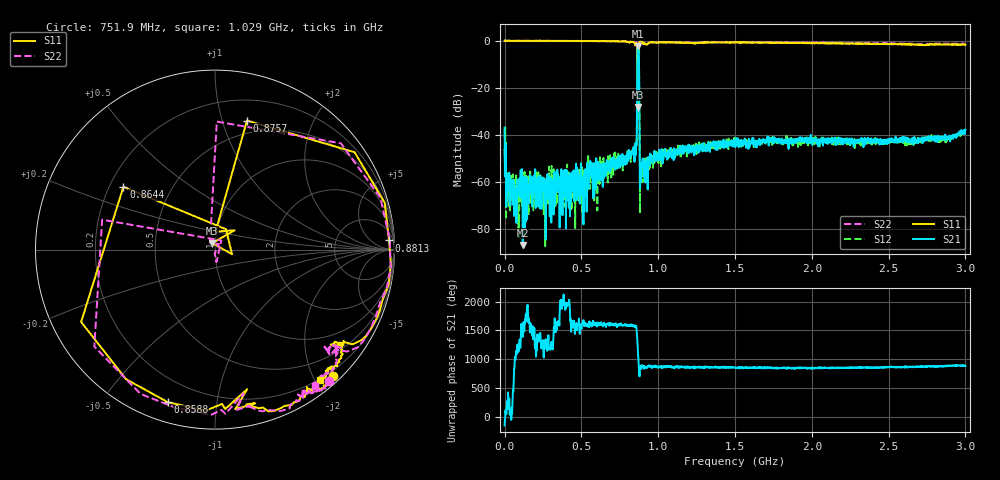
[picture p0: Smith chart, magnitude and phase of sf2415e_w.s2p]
!Agilent Technologies,E5071C,MY46104097,A.08.12
!Date: Wed Aug 16 11:23:37 2017
!Data & Calibration Information:
!Freq	S11:SOLT2(ON)	S21:SOLT2(ON)	S12:SOLT2(ON)	S22:SOLT2(ON)
# Hz S RI R 50
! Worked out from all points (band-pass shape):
!   1601 points, 100 kHz to 3 GHz, reference 50 ohm
!   highest |S21| = -2.33 dB at 870.1 MHz (marker M1); lowest = -86.6 dB at 118.2 MHz (marker M2)
!   |S21| within 3 dB of the highest: 865.7 MHz to 874.1 MHz (8.394 MHz wide, 0.965 % of centre)
!   lowest |S11| = -28.1 dB at 870.1 MHz (marker M3), VSWR 1.08, Z = 48.4 + j3.53 ohm
!   |S11| at or under -10 dB: 865.2 MHz to 874.9 MHz (9.65 MHz wide, 1.11 % of centre)
!   |S22| runs from -32.9 to 0.2 dB; largest |S21 - S12| = 0.018
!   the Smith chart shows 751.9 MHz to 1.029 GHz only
!   S11 on the Smith chart (normalised r, x): 751.9 MHz: 0.10, -2.30; 858.8 MHz: 0.09, -0.73; 864.4 MHz: 0.26, +0.29; 875.7 MHz: 0.38, +1.21; 881.3 MHz: 16, +29; 1.029 GHz: 0.19, -2.08
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100000  1.005 0.00958  -0.0125 -0.00692  0.000521 0.00513  0.9796 0.00275
2.447419e7  1.005 -0.0265  0.000377 -0.000565  -0.000216 0.000488  1 -0.0261
1.182211e8  0.9934 -0.1176  2.98e-05 -3.62e-05  0.000198 -0.000819  0.9912 -0.1219
2.269674e8  0.9764 -0.229  0.00104 -0.000567  -0.000732 -0.000295  0.9681 -0.2258
2.588414e8  0.9638 -0.2464  -0.000315 -0.000654  -0.0012 7.39e-05  0.9614 -0.2671
3.038399e8  0.95 -0.2936  -0.000105 -9.24e-05  -0.00017 -0.000192  0.9507 -0.308
5.007083e8  0.8686 -0.4805  7.24e-05 0.000777  -0.0017 0.00101  0.8554 -0.4972
5.513316e8  0.8434 -0.5203  -0.000622 0.0013  -0.000988 0.00204  0.82 -0.5528
7.519499e8  0.6601 -0.707  -0.00252 0.00136  -0.0018 0.001  0.6362 -0.7294
8.438219e8  0.2433 -0.8841  -0.00394 0.00269  -0.0035 0.0031  0.2421 -0.8967
8.588214e8  -0.263 -0.8501  -0.00128 0.00585  -0.00167 0.00602  -0.2215 -0.8807
8.644462e8  -0.5103 0.3498  -0.1412 -0.2845  -0.1355 -0.2842  -0.6288 0.1666
8.70071e8  -0.0151 0.0364  0.657 -0.3921  0.6581 -0.3889  -0.00168 -0.0226
8.756958e8  0.1783 0.7189  0.1525 0.1585  0.148 0.1629  0.00998 0.7131
8.813206e8  0.9699 0.051  -0.000565 0.000482  0.000154 -0.000161  0.9734 0.056
8.963201e8  0.8138 -0.5059  -0.00136 0.00158  -0.00073 -0.000674  0.7948 -0.5441
1.001317e9  0.6227 -0.6823  -0.00329 0.00173  -0.00244 0.000718  0.5891 -0.7199
1.029441e9  0.5839 -0.725  -0.00204 0.00154  -0.00416 0.00268  0.5558 -0.7577
1.50005e9  0.2054 -0.9082  -0.0051 0.00561  -0.00439 0.00603  0.134 -0.9299
2.000658e9  -0.2484 -0.8639  -0.00539 0.0051  -0.00517 0.00572  -0.3181 -0.8542
2.501267e9  -0.6012 -0.6152  -0.00534 0.00411  -0.00663 0.00457  -0.6594 -0.5907
3e9  -0.7879 -0.2661  -0.0127 0.0033  -0.0108 0.00244  -0.8374 -0.233
